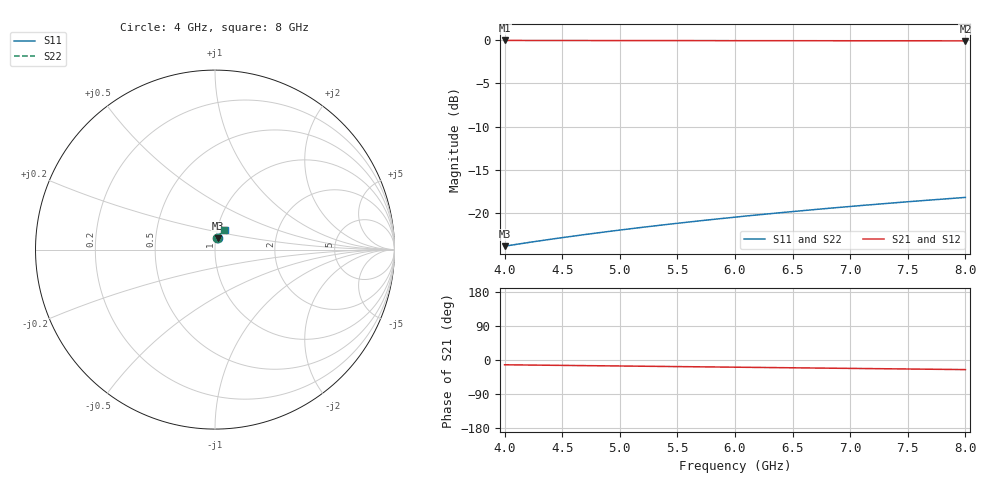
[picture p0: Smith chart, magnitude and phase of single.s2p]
! Sonnet Data File
! From: emgraph Version : 15.53-Lite
! From Emgraph Data: single
! Data File Written: 11/22/2014 17:36:57
!< HDATE 11/22/2014 17:36:13
!< MDATE 11/22/2014 17:36:13
# GHZ S RI R 50.00000
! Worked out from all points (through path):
!   201 points, 4 GHz to 8 GHz, reference 50 ohm
!   highest |S21| = -0.02 dB at 4 GHz (marker M1); lowest = -0.1 dB at 8 GHz (marker M2)
!   group delay of S21, straight-line fit = 8.82 ps
!   lowest |S11| = -23.9 dB at 4 GHz (marker M3), VSWR 1.14, Z = 51.1 + j6.4 ohm
!   |S11| at or under -10 dB: start of sweep to end of sweep
!   |S22| runs from -23.9 to -18.2 dB; largest |S21 - S12| = 0
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4  0.0144 0.0625  0.9738 -0.2181  0.9738 -0.2181  0.0136 0.0627
!< P1 F=4.0 Eeff=(6.1975274 -5.7859e-4) Z0=(67.8871587 0.00316838) R=0.08298377 C=0.04148466
!< P2 F=4.0 Eeff=(6.22170887 -5.7952e-4) Z0=(67.9809773 0.00316567) R=0.23986911 C=0.01455832
4.16  0.0156 0.0647  0.9717 -0.2266  0.9717 -0.2266  0.0146 0.065
4.32  0.0168 0.067  0.9695 -0.2352  0.9695 -0.2352  0.0158 0.0672
4.48  0.018 0.0692  0.9672 -0.2437  0.9672 -0.2437  0.0169 0.0695
4.68  0.0196 0.072  0.9642 -0.2543  0.9642 -0.2543  0.0184 0.0723
4.84  0.021 0.0741  0.9618 -0.2627  0.9618 -0.2627  0.0196 0.0745
5  0.0223 0.0763  0.9592 -0.2712  0.9592 -0.2712  0.0209 0.0767
5.18  0.0239 0.0787  0.9563 -0.2807  0.9563 -0.2807  0.0224 0.0791
5.34  0.0253 0.0807  0.9536 -0.289  0.9536 -0.289  0.0237 0.0812
5.5  0.0268 0.0828  0.9508 -0.2974  0.9508 -0.2974  0.0251 0.0833
5.68  0.0285 0.085  0.9475 -0.3068  0.9475 -0.3068  0.0267 0.0856
5.84  0.0301 0.087  0.9446 -0.3151  0.9446 -0.3151  0.0282 0.0877
6  0.0317 0.089  0.9415 -0.3234  0.9415 -0.3234  0.0296 0.0897
6.16  0.0333 0.0909  0.9384 -0.3316  0.9384 -0.3316  0.0312 0.0916
6.34  0.0352 0.093  0.9348 -0.3409  0.9348 -0.3409  0.0329 0.0938
6.5  0.0369 0.0948  0.9315 -0.3491  0.9315 -0.3491  0.0345 0.0957
6.68  0.0389 0.0968  0.9278 -0.3583  0.9278 -0.3583  0.0363 0.0978
7  0.0424 0.1003  0.9208 -0.3745  0.9208 -0.3745  0.0396 0.1015
7.16  0.0443 0.102  0.9172 -0.3826  0.9172 -0.3826  0.0413 0.1032
7.34  0.0464 0.1038  0.9131 -0.3916  0.9131 -0.3916  0.0432 0.1052
7.66  0.0502 0.107  0.9055 -0.4076  0.9055 -0.4076  0.0468 0.1085
8  0.0544 0.1102  0.8971 -0.4244  0.8971 -0.4244  0.0506 0.1119
